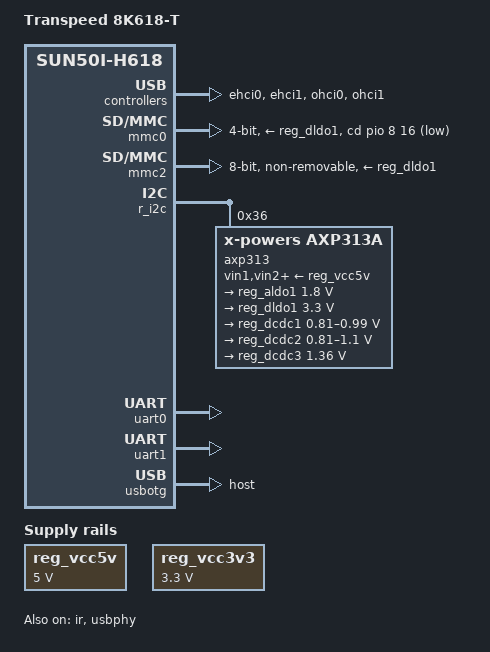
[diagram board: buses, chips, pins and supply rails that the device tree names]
// SPDX-License-Identifier: (GPL-2.0+ OR MIT)
/*
 * Copyright (C) 2023 Arm Ltd.
 */

/dts-v1/;

#include "sun50i-h616.dtsi"

#include <dt-bindings/gpio/gpio.h>
#include <dt-bindings/interrupt-controller/arm-gic.h>

/ {
	model = "Transpeed 8K618-T";
	compatible = "transpeed,8k618-t", "allwinner,sun50i-h618";

	aliases {
		serial0 = &uart0;
	};

	chosen {
		stdout-path = "serial0:115200n8";
	};

	reg_vcc5v: vcc5v {
		/* board wide 5V supply directly from the DC input */
		compatible = "regulator-fixed";
		regulator-name = "vcc-5v";
		regulator-min-microvolt = <5000000>;
		regulator-max-microvolt = <5000000>;
		regulator-always-on;
	};

	reg_vcc3v3: vcc3v3 {
		/* discrete 3.3V regulator */
		compatible = "regulator-fixed";
		regulator-name = "vcc-3v3";
		regulator-min-microvolt = <3300000>;
		regulator-max-microvolt = <3300000>;
		regulator-always-on;
	};
};

&ehci0 {
	status = "okay";
};

&ehci1 {
	status = "okay";
};

&ir {
	status = "okay";
};

&mmc0 {
	vmmc-supply = <&reg_dldo1>;
	cd-gpios = <&pio 8 16 GPIO_ACTIVE_LOW>;	/* PI16 */
	bus-width = <4>;
	status = "okay";
};

&mmc2 {
	vmmc-supply = <&reg_dldo1>;
	vqmmc-supply = <&reg_aldo1>;
	bus-width = <8>;
	non-removable;
	cap-mmc-hw-reset;
	mmc-ddr-1_8v;
	mmc-hs200-1_8v;
	status = "okay";
};

&ohci0 {
	status = "okay";
};

&ohci1 {
	status = "okay";
};

&r_i2c {
	status = "okay";

	axp313: pmic@36 {
		compatible = "x-powers,axp313a";
		reg = <0x36>;
		#interrupt-cells = <1>;
		interrupt-controller;

		vin1-supply = <&reg_vcc5v>;
		vin2-supply = <&reg_vcc5v>;
		vin3-supply = <&reg_vcc5v>;

		regulators {
			reg_aldo1: aldo1 {
				regulator-always-on;
				regulator-min-microvolt = <1800000>;
				regulator-max-microvolt = <1800000>;
				regulator-name = "vcc-1v8-pll";
			};

			reg_dldo1: dldo1 {
				regulator-always-on;
				regulator-min-microvolt = <3300000>;
				regulator-max-microvolt = <3300000>;
				regulator-name = "vcc-3v3-io-mmc";
			};

			reg_dcdc1: dcdc1 {
				regulator-always-on;
				regulator-min-microvolt = <810000>;
				regulator-max-microvolt = <990000>;
				regulator-name = "vdd-gpu-sys";
			};

			reg_dcdc2: dcdc2 {
				regulator-always-on;
				regulator-min-microvolt = <810000>;
				regulator-max-microvolt = <1100000>;
				regulator-name = "vdd-cpu";
			};

			reg_dcdc3: dcdc3 {
				regulator-always-on;
				regulator-min-microvolt = <1360000>;
				regulator-max-microvolt = <1360000>;
				regulator-name = "vdd-dram";
			};
		};
	};
};

&pio {
	vcc-pc-supply = <&reg_aldo1>;
	vcc-pg-supply = <&reg_dldo1>;
	vcc-ph-supply = <&reg_dldo1>;
	vcc-pi-supply = <&reg_dldo1>;
};

&uart0 {
	pinctrl-names = "default";
	pinctrl-0 = <&uart0_ph_pins>;
	status = "okay";
};

&uart1 {
	pinctrl-names = "default";
	pinctrl-0 = <&uart1_pins>, <&uart1_rts_cts_pins>;
	uart-has-rtscts;
	status = "okay";
};

&usbotg {
	dr_mode = "host";	/* USB A type receptable */
	status = "okay";
};

&usbphy {
	status = "okay";
};
